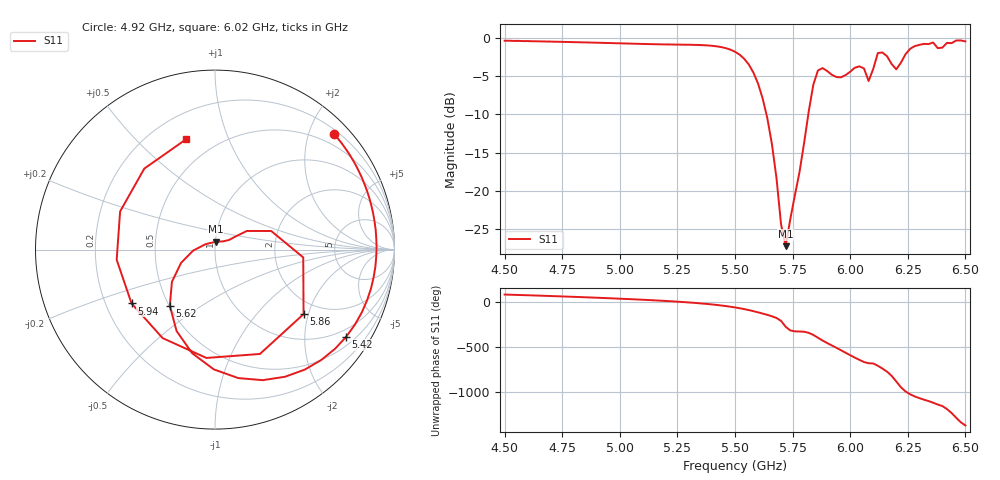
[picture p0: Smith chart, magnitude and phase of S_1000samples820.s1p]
! TOUCHSTONE file generated by CST MICROWAVE STUDIO
! Date and time: Sat Oct 29 12:17:29 2022
! Project name: L.cst
! Parameters = {Di=1.27; Epsilon_r=1.56; InnerDiameter=1.27; Length=2; Lf=10; Lg=60; OuterConductorThickness=0.2921; OuterDiameter=3.6; Wf=3; Wp=41.2; de=1.5; df=6.8; g=0.8; gx=4.20369; gy=2.10304; h=2.34; hf=1.524; px=8.52258; py=14.604; w=9.7; wx=4.31889; wy=12.5009}
! Header version: 2018
! Port assignment regex: !\s*Touchstone port\s*([0-9]+)\s*=\s*(CST MWS port|CST DS port)\s*([0-9]+|Zmin|Zmax)\s*\(\"(.*)\"\)(\s*mode\s*([0-9]+))?.*
! Touchstone port assignment:
! Touchstone port 1 = CST MWS port 1 ("")
# GHz S DB R 50
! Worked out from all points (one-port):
!   101 points, 4.5 GHz to 6.5 GHz, reference 50 ohm
!   lowest |S11| = -27.2 dB at 5.72 GHz (marker M1), VSWR 1.09, Z = 50.2 + j4.37 ohm
!   |S11| at or under -10 dB: 5.636 GHz to 5.818 GHz (181.8 MHz wide, 3.18 % of centre)
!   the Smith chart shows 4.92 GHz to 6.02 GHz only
!   S11 on the Smith chart (normalised r, x): 4.92 GHz: 0.27, +2.44; 5.42 GHz: 0.75, -3.15; 5.62 GHz: 0.50, -0.38; 5.86 GHz: 1.63, -1.86; 5.94 GHz: 0.31, -0.27; 6.02 GHz: 0.35, +0.71
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4.5  -0.41 81.2
4.76  -0.56 59.5
4.92  -0.68 44.1
5  -0.74 35.5
5.26  -0.91 0.9
5.42  -1.13 -33.6
5.5  -1.84 -61.1
5.62  -7.93 -128.9
5.72  -27.20 84.8
5.76  -20.54 34.5
5.82  -9.63 18.3
5.86  -4.29 -36.1
5.9  -4.36 -94.5
5.94  -5.14 -147.2
6  -4.45 131.1
6.02  -3.93 104.5
6.12  -2.02 14.2
6.14  -1.94 -16.6
6.18  -3.45 -97.5
6.2  -4.13 -159.4
6.22  -3.28 137.3
6.26  -1.46 59.1
6.34  -0.84 -15.9
6.4  -1.30 -71.2
6.42  -0.69 -104.1
6.46  -0.38 160.1
6.48  -0.37 109.9
6.5  -0.49 74.6
